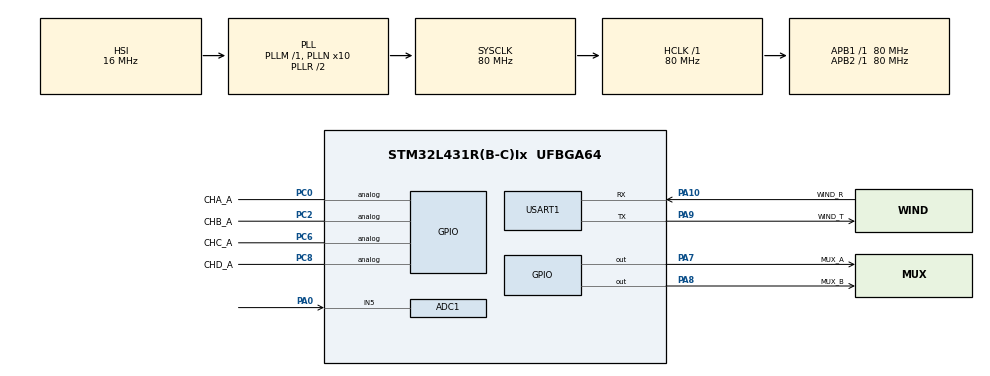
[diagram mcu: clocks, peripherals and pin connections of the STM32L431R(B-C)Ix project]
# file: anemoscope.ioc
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ADC1.Channel-1\#ChannelRegularConversion=ADC_CHANNEL_5
ADC1.ClockPrescaler=ADC_CLOCK_ASYNC_DIV1
ADC1.ContinuousConvMode=DISABLE
ADC1.ExternalTrigConv=ADC_EXTERNALTRIG_T1_TRGO
ADC1.NbrOfConversionFlag=1
ADC1.OffsetNumber-1\#ChannelRegularConversion=ADC_OFFSET_NONE
ADC1.Rank-1\#ChannelRegularConversion=1
ADC1.SamplingTime-1\#ChannelRegularConversion=ADC_SAMPLETIME_12CYCLES_5
ADC1.master=1
Dma.ADC1.3.Direction=DMA_PERIPH_TO_MEMORY
Dma.ADC1.3.Instance=DMA1_Channel1
Dma.ADC1.3.MemDataAlignment=DMA_MDATAALIGN_HALFWORD
Dma.ADC1.3.MemInc=DMA_MINC_ENABLE
Dma.ADC1.3.Mode=DMA_NORMAL
Dma.ADC1.3.PeriphDataAlignment=DMA_PDATAALIGN_HALFWORD
Dma.ADC1.3.PeriphInc=DMA_PINC_DISABLE
Dma.ADC1.3.Priority=DMA_PRIORITY_MEDIUM
Dma.Request0=TIM6_UP
Dma.Request1=USART1_RX
Dma.Request2=USART1_TX
Dma.Request3=ADC1
Dma.TIM6_UP.0.Direction=DMA_MEMORY_TO_PERIPH
Dma.TIM6_UP.0.Instance=DMA1_Channel3
Dma.TIM6_UP.0.MemDataAlignment=DMA_MDATAALIGN_WORD
Dma.TIM6_UP.0.MemInc=DMA_MINC_ENABLE
Dma.TIM6_UP.0.Mode=DMA_NORMAL
Dma.TIM6_UP.0.PeriphDataAlignment=DMA_PDATAALIGN_WORD
Dma.TIM6_UP.0.PeriphInc=DMA_PINC_DISABLE
Dma.TIM6_UP.0.Priority=DMA_PRIORITY_MEDIUM
Dma.USART1_RX.1.Direction=DMA_PERIPH_TO_MEMORY
Dma.USART1_RX.1.Instance=DMA1_Channel5
Dma.USART1_RX.1.MemDataAlignment=DMA_MDATAALIGN_BYTE
Dma.USART1_RX.1.MemInc=DMA_MINC_ENABLE
Dma.USART1_RX.1.Mode=DMA_NORMAL
Dma.USART1_RX.1.PeriphDataAlignment=DMA_PDATAALIGN_BYTE
Dma.USART1_RX.1.PeriphInc=DMA_PINC_DISABLE
Dma.USART1_RX.1.Priority=DMA_PRIORITY_LOW
Dma.USART1_TX.2.Direction=DMA_MEMORY_TO_PERIPH
Dma.USART1_TX.2.Instance=DMA1_Channel4
Dma.USART1_TX.2.MemDataAlignment=DMA_MDATAALIGN_BYTE
Dma.USART1_TX.2.MemInc=DMA_MINC_ENABLE
Dma.USART1_TX.2.Mode=DMA_NORMAL
Dma.USART1_TX.2.PeriphDataAlignment=DMA_PDATAALIGN_BYTE
Dma.USART1_TX.2.PeriphInc=DMA_PINC_DISABLE
Dma.USART1_TX.2.Priority=DMA_PRIORITY_LOW
Mcu.Family=STM32L4
Mcu.Name=STM32L431R(B-C)Ix
Mcu.Package=UFBGA64
NVIC.ADC1_IRQn=true\:0\:0\:false\:false\:true\:true\:true\:true
NVIC.DMA1_Channel1_IRQn=true\:0\:0\:false\:false\:true\:false\:true\:true
NVIC.DMA1_Channel3_IRQn=true\:0\:0\:false\:false\:true\:false\:true\:true
NVIC.DMA1_Channel4_IRQn=true\:0\:0\:false\:false\:true\:false\:true\:true
NVIC.DMA1_Channel5_IRQn=true\:0\:0\:false\:false\:true\:false\:true\:true
NVIC.PriorityGroup=NVIC_PRIORITYGROUP_4
NVIC.TIM2_IRQn=true\:0\:0\:false\:false\:true\:true\:true\:true
NVIC.TIM6_DAC_IRQn=true\:0\:0\:false\:false\:true\:true\:true\:true
NVIC.USART1_IRQn=true\:0\:0\:false\:false\:true\:false\:true\:true
PA0.GPIO_Mode=GPIO_MODE_ANALOG_ADC_CONTROL
PA0.Signal=ADCx_IN5
PA10.GPIO_Label=WIND_R
PA10.Mode=Asynchronous
PA10.Signal=USART1_RX
PA13\ (JTMS-SWDIO).Mode=Serial_Wire
PA13\ (JTMS-SWDIO).Signal=SYS_JTMS-SWDIO
PA14\ (JTCK-SWCLK).Mode=Serial_Wire
PA14\ (JTCK-SWCLK).Signal=SYS_JTCK-SWCLK
PA7.GPIO_Label=MUX_A
PA7.GPIO_Speed=GPIO_SPEED_FREQ_MEDIUM
PA7.Signal=GPIO_Output
PA8.GPIO_Label=MUX_B
PA8.GPIO_Speed=GPIO_SPEED_FREQ_MEDIUM
PA8.Signal=GPIO_Output
PA9.GPIO_Label=WIND_T
PA9.Mode=Asynchronous
PA9.Signal=USART1_TX
PC0.GPIO_Label=CHA_A
PC0.Signal=GPIO_Analog
PC2.GPIO_Label=CHB_A
PC2.Signal=GPIO_Analog
PC6.GPIO_Label=CHC_A
PC6.Signal=GPIO_Analog
PC8.GPIO_Label=CHD_A
PC8.Signal=GPIO_Analog
ProjectManager.HeapSize=0x200
ProjectManager.StackSize=0x400
ProjectManager.TargetToolchain=CMake
RCC.ADCFreq_Value=64000000
RCC.AHBFreq_Value=80000000
RCC.APB1Freq_Value=80000000
RCC.APB1TimFreq_Value=80000000
RCC.APB2Freq_Value=80000000
RCC.APB2TimFreq_Value=80000000
RCC.CortexFreq_Value=80000000
RCC.HCLKFreq_Value=80000000
RCC.HSE_VALUE=8000000
RCC.HSI48_VALUE=48000000
RCC.HSI_VALUE=16000000
RCC.LSE_VALUE=32768
RCC.MSI_VALUE=4000000
RCC.PLLN=10
RCC.PLLSourceVirtual=RCC_PLLSOURCE_HSI
RCC.SYSCLKFreq_VALUE=80000000
RCC.SYSCLKSource=RCC_SYSCLKSOURCE_PLLCLK
RCC.VCOOutputFreq_Value=160000000
SH.ADCx_IN5.0=ADC1_IN5,IN5-Single-Ended
STMicroelectronics.X-CUBE-ALGOBUILD.1.5.0.LibraryCcDSPOoLibraryJjDSPOoLibrary=true
TIM1.Period=49
TIM1.TIM_MasterOutputTrigger=TIM_TRGO_UPDATE
TIM2.Channel-Output\ Compare1\ No\ Output=TIM_CHANNEL_1
TIM2.Channel-Output\ Compare2\ No\ Output=TIM_CHANNEL_2
TIM2.Period=999
TIM2.Prescaler=79
TIM6.Period=999
TIM6.TIM_MasterOutputTrigger=TIM_TRGO_UPDATE
USART1.VirtualMode-Asynchronous=VM_ASYNC
VP_STMicroelectronics.X-CUBE-ALGOBUILD_VS_DSPOoLibraryJjLibrary_1.5.0_1.5.0.Mode=DSPOoLibraryJjLibrary
VP_TIM1_VS_ClockSourceINT.Mode=Internal
VP_TIM2_VS_ClockSourceINT.Mode=Internal
VP_TIM2_VS_no_output1.Mode=Output Compare1 No Output
VP_TIM2_VS_no_output2.Mode=Output Compare2 No Output
VP_TIM6_VS_ClockSourceINT.Mode=Enable_Timer
board=custom

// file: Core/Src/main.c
/* USER CODE BEGIN Header */
/**
  ******************************************************************************
  * @file           : main.c
  * @brief          : Main program body
  ******************************************************************************
  * @attention
  *
  * Copyright (c) 2026 STMicroelectronics.
  * All rights reserved.
  *
  * This software is licensed under terms that can be found in the LICENSE file
  * in the root directory of this software component.
  * If no LICENSE file comes with this software, it is provided AS-IS.
  *
  ******************************************************************************
  */
/* USER CODE END Header */
#include "main.h"
#include "adc.h"
#include "dma.h"
#include "tim.h"
#include "usart.h"
#include "gpio.h"

/* USER CODE BEGIN Includes */
#include "bsp_dwt.h"
#include "bsp_gpio.h"
#include "bsp_dma.h"
#include "bsp_uart.h"
#include "bsp_adc.h"
#include "bsp_tim.h"
#include "wave_generate.h"
#include "wind_speed_calculate.h"
/* USER CODE END Includes */

void SystemClock_Config(void);

/* USER CODE BEGIN 0 */
uint32_t main_dwt_count = 0;
uint32_t main_count = 0;
float dt_main_s = 0.01f;
float main_task_time_s = 0.0f;
float main_wait_time_s = 0.0f;
uint8_t test_data[20];
uint16_t send_index = 0;

float dt_ac = 0.0f;
float dt_bd = 0.0f;

float lag_ac = 0.0f;
float lag_bd = 0.0f;
float lag_ac_median3filtered = 0.0f;
float lag_bd_median3filtered = 0.0f;
float lag_ac_avrg5filtered = 0.0f;
float lag_bd_avrg5filtered = 0.0f;

float v_ac = 0.0f;
float v_bd = 0.0f;
float v = 0.0f;
float v_ac_median3filtered = 0.0f;
float v_bd_median3filtered = 0.0f;
float v_median3filtered = 0.0f;
float v_ac_avrg5filtered = 0.0f;
float v_bd_avrg5filtered = 0.0f;
float v_avrg5filtered = 0.0f;

// float dt_ab = 0.0f;
// float dt_ad = 0.0f;
// float dt_cb = 0.0f;
// float dt_cd = 0.0f;
// float v_ab = 0.0f;
// float v_ad = 0.0f;
// float v_cb = 0.0f;
// float v_cd = 0.0f;
// float lag_ab = 0.0f;
// float lag_ad = 0.0f;
// float lag_cb = 0.0f;
// float lag_cd = 0.0f;
// float v_x = 0.0f;
// float v_y = 0.0f;
/* USER CODE END 0 */

int main(void)
{

  /* MCU Configuration--------------------------------------------------------*/

  /* Reset of all peripherals, Initializes the Flash interface and the Systick. */
  HAL_Init();

  /* Configure the system clock */
  SystemClock_Config();

  /* Initialize all configured peripherals */
  MX_GPIO_Init();
  MX_DMA_Init();
  MX_ADC1_Init();
  MX_USART1_UART_Init();
  MX_TIM6_Init();
  MX_TIM1_Init();
  MX_TIM2_Init();
  /* USER CODE BEGIN 2 */
  DWT_Init(80);
  bsp_gpio_init();
  bsp_dma_register_callback(&hdma_tim6_up);
  bsp_uart_init(&huart1, UART1_Rx_Buff, 8, uart1_callback);
  bsp_adc_init();

  test_data[0] = 0xAB;

  /* USER CODE END 2 */

  /* Infinite loop */
  while (1)
  {

    /* USER CODE BEGIN 3 */
    DWT_GetDeltaT(&main_dwt_count);

    // 对角线测风速
    wave_done = 0;
    sample_done = 0;
    switch (main_count % 5)
    {
      case 0:
      {
        // A -> C
        receive_channel_select(C);
        wave_build(&CHA);
        bsp_tim_start(&htim2, &CHA, &CHC);
        while (sample_done == 0)
        {
        }
        memcpy(AtoC.r_data, adc_buffer, sizeof(AtoC.r_data));
        break;
      }
      case 1:
      {
        // C -> A
        receive_channel_select(A);
        wave_build(&CHC);
        bsp_tim_start(&htim2, &CHC, &CHA);
        while (sample_done == 0)
        {
        }
        memcpy(CtoA.r_data, adc_buffer, sizeof(CtoA.r_data));
        pair_corr_find_delay(&AtoC, &CtoA, &lag_ac);
        break;
      }
      case 2:
      {
        // B -> D
        receive_channel_select(D);
        wave_build(&CHB);
        bsp_tim_start(&htim2, &CHB, &CHD);
        while (sample_done == 0)
        {
        }
        memcpy(BtoD.r_data, adc_buffer, sizeof(BtoD.r_data));
        break;
      }
      case 3:
      {
        // D -> B
        receive_channel_select(B);
        wave_build(&CHD);
        bsp_tim_start(&htim2, &CHD, &CHB);
        while (sample_done == 0)
        {
        }
        memcpy(DtoB.r_data, adc_buffer, sizeof(DtoB.r_data));
        pair_corr_find_delay(&BtoD, &DtoB, &lag_bd);
        break;
      }
      case 4:
      {
        // 计算两个方向风速
        // 先3点取中值，再5点取平均
        lag_ac_median3filtered = median_3_updata(&lag_ac_median3filter, lag_ac);
        lag_bd_median3filtered = median_3_updata(&lag_bd_median3filter, lag_bd);
        lag_ac_avrg5filtered = avrg_5_update(&lag_ac_avrg5filter, lag_ac_median3filtered);
        lag_bd_avrg5filtered = avrg_5_update(&lag_bd_avrg5filter, lag_bd_median3filtered);
        dt_ac = lag_ac_avrg5filtered / SAMPLE_RATE;
        dt_bd = lag_bd_avrg5filtered / SAMPLE_RATE;
        // dt_ac = lag_ac / SAMPLE_RATE;
        // dt_bd = lag_bd / SAMPLE_RATE;

        wind_speed_calculate_diagonal(dt_ac, dt_bd, &v_ac, &v_bd, &v);

        // 风速滤波
        v_ac_median3filtered = median_3_updata(&v_ac_median3filter, v_ac);
        v_bd_median3filtered = median_3_updata(&v_bd_median3filter, v_bd);
        v_median3filtered = median_3_updata(&v_median3filter, v);
        v_ac_avrg5filtered = avrg_5_update(&v_ac_avrg5filter, v_ac_median3filtered);
        v_bd_avrg5filtered = avrg_5_update(&v_bd_avrg5filter, v_bd_median3filtered);
        v_avrg5filtered = avrg_5_update(&v_avrg5filter, v_median3filtered);

        for (uint8_t i = 0; i < 4; i++)
        {
          test_data[1 + i] = *((uint8_t *)&v_ac_avrg5filtered + i);
          test_data[5 + i] = *((uint8_t *)&v_bd_avrg5filtered + i);
          test_data[9 + i] = *((uint8_t *)&v_avrg5filtered + i);
        }
        bsp_uart_send(&huart1, test_data, 13);

        break;
      }
      default:
        break;
    }

    // 四边形测风速
    // wave_done = 0;
    // sample_done = 0;
    // switch (main_count % 9)
    // {
    //   case 0:
    //   {
    //     // A -> B
    //     receive_channel_select(B);
    //     wave_build(&CHA);
    //     bsp_tim_start(&htim2, &CHA, &CHB);
    //     while (sample_done == 0)
    //     {
    //     }
    //     memcpy(AtoB.r_data, adc_buffer, sizeof(AtoB.r_data));
    //     break;
    //   }
    //   case 1:
    //   {
    //     // A -> D
    //     receive_channel_select(D);
    //     wave_build(&CHA);
    //     bsp_tim_start(&htim2, &CHA, &CHD);
    //     while (sample_done == 0)
    //     {
    //     }
    //     memcpy(AtoD.r_data, adc_buffer, sizeof(AtoD.r_data));
    //     break;
    //   }
    //   case 2:
    //   {
    //     // C -> B
    //     receive_channel_select(B);
    //     wave_build(&CHC);
    //     bsp_tim_start(&htim2, &CHC, &CHB);
    //     while (sample_done == 0)
    //     {
    //     }
    //     memcpy(CtoB.r_data, adc_buffer, sizeof(CtoB.r_data));
    //     break;
    //   }
    //   case 3:
    //   {
    //     // C -> D
    //     receive_channel_select(D);
    //     wave_build(&CHC);
    //     bsp_tim_start(&htim2, &CHC, &CHD);
    //     while (sample_done == 0)
    //     {
    //     }
    //     memcpy(CtoD.r_data, adc_buffer, sizeof(CtoD.r_data));
    //     break;
    //   }
    //   case 4:
    //   {
    //     // B -> A
    //     receive_channel_select(A);
    //     wave_build(&CHB);
    //     bsp_tim_start(&htim2, &CHB, &CHA);
    //     while (sample_done == 0)
    //     {
    //     }
    //     memcpy(BtoA.r_data, adc_buffer, sizeof(BtoA.r_data));
    //     pair_corr_find_delay(&AtoB, &BtoA, &lag_ab);
    //     break;
    //   }
    //   case 5:
    //   {
    //     // B -> C
    //     receive_channel_select(C);
    //     wave_build(&CHB);
    //     bsp_tim_start(&htim2, &CHB, &CHC);
    //     while (sample_done == 0)
    //     {
    //     }
    //     memcpy(BtoC.r_data, adc_buffer, sizeof(BtoC.r_data));
    //     pair_corr_find_delay(&CtoB, &BtoC, &lag_cb);
    //     break;
    //   }
    //   case 6:
    //   {
    //     // D -> A
    //     receive_channel_select(A);
    //     wave_build(&CHD);
    //     bsp_tim_start(&htim2, &CHD, &CHA);
    //     while (sample_done == 0)
    //     {
    //     }
    //     memcpy(DtoA.r_data, adc_buffer, sizeof(DtoA.r_data));
    //     pair_corr_find_delay(&AtoD, &DtoA, &lag_ad);
    //     break;
    //   }
    //   case 7:
    //   {
    //     // D -> C
    //     receive_channel_select(C);
    //     wave_build(&CHD);
    //     bsp_tim_start(&htim2, &CHD, &CHC);
    //     while (sample_done == 0)
    //     {
    //     }
    //     memcpy(DtoC.r_data, adc_buffer, sizeof(DtoC.r_data));
    //     pair_corr_find_delay(&CtoD, &DtoC, &lag_cd);
    //     break;
    //   }
    //   case 8:
    //   {
    //     dt_ab = lag_ab / SAMPLE_RATE;
    //     dt_ad = lag_ad / SAMPLE_RATE;
    //     dt_cb = lag_cb / SAMPLE_RATE;
    //     dt_cd = lag_cd / SAMPLE_RATE;
    //     wind_speed_calculate_quadrilateral(dt_ab, &v_ab);
    //     wind_speed_calculate_quadrilateral(dt_ad, &v_ad);
    //     wind_speed_calculate_quadrilateral(dt_cb, &v_cb);
    //     wind_speed_calculate_quadrilateral(dt_cd, &v_cd);
    //     for (uint8_t i = 0; i < 4; i++)
    //     {
    //       test_data[1 + i] = *((uint8_t *)&v_ab + i);
    //       test_data[5 + i] = *((uint8_t *)&v_cd + i);
    //     }
    //     bsp_uart_send(&huart1, test_data, 9);
    //     break;
    //   }
    //   default:
    //     break;
    // }

    // wave_done = 0;
    // sample_done = 0;
    // if (main_count == 0)
    // {
    //   receive_channel_select(C);
    //   wave_build(&CHA);
    //   bsp_tim_start(&htim2, &CHA, &CHC);
    //   while (sample_done == 0)
    //   {
    //   }
    // }
    // else if (main_count == 1)
    //   r_get_average();
    // else
    // {
    //   if (send_index < 4096)
    //   {
    //     test_data[1] = UART1_Tx_Data[send_index];
    //     test_data[2] = UART1_Tx_Data[send_index + 1];
    //     test_data[3] = UART1_Tx_Data[send_index + 2];
    //     test_data[4] = UART1_Tx_Data[send_index + 3];
    //     bsp_uart_send(&huart1, test_data, 5);
    //     send_index += 4;
    //   }
    //   // test_data[1] = UART1_Tx_Data[0];
    //   // test_data[2] = UART1_Tx_Data[1];
    //   // bsp_uart_send(&huart1, test_data, 3);
    // }

    // receive_channel_select(C);
    // wave_start(&CHA);
    // while (wave_done == 0)
    // {
    // }
    // sample_start(&CHC);
    // while (sample_done == 0)
    // {
    // }
    // corr_find(&AtoC, 30, 200, 30.0f, 0.9f);

    // for (uint8_t i = 0; i < 4; i++)
    //   test_data[1 + i] = *((uint8_t *)&delay_t_us + i);
    // bsp_uart_send(&huart1, test_data, 5);

    // test_data[1] = (uint8_t)(AtoC.peak_index & 0xFF);
    // test_data[2] = (uint8_t)(AtoC.peak_index >> 8);
    // bsp_uart_send(&huart1, test_data, 3);

    main_task_time_s = DWT_GetDeltaT(&main_dwt_count);
    main_wait_time_s = dt_main_s - main_task_time_s;
    main_count ++;

    // for (uint8_t i = 0; i < 4; i++)
    //   test_data[1 + i] = *((uint8_t *)&main_task_time_s + i);
    // bsp_uart_send(&huart1, test_data, 5);

    DWT_Delay(main_wait_time_s);
  }
  /* USER CODE END 3 */
}

void SystemClock_Config(void)
{
  RCC_OscInitTypeDef RCC_OscInitStruct = {0};
  RCC_ClkInitTypeDef RCC_ClkInitStruct = {0};

  /** Configure the main internal regulator output voltage
  */
  if (HAL_PWREx_ControlVoltageScaling(PWR_REGULATOR_VOLTAGE_SCALE1) != HAL_OK)
  {
    Error_Handler();
  }

  /** Initializes the RCC Oscillators according to the specified parameters
  * in the RCC_OscInitTypeDef structure.
  */
  RCC_OscInitStruct.OscillatorType = RCC_OSCILLATORTYPE_HSI;
  RCC_OscInitStruct.HSIState = RCC_HSI_ON;
  RCC_OscInitStruct.HSICalibrationValue = RCC_HSICALIBRATION_DEFAULT;
  RCC_OscInitStruct.PLL.PLLState = RCC_PLL_ON;
  RCC_OscInitStruct.PLL.PLLSource = RCC_PLLSOURCE_HSI;
  RCC_OscInitStruct.PLL.PLLM = 1;
  RCC_OscInitStruct.PLL.PLLN = 10;
  RCC_OscInitStruct.PLL.PLLP = RCC_PLLP_DIV7;
  RCC_OscInitStruct.PLL.PLLQ = RCC_PLLQ_DIV2;
  RCC_OscInitStruct.PLL.PLLR = RCC_PLLR_DIV2;
  if (HAL_RCC_OscConfig(&RCC_OscInitStruct) != HAL_OK)
  {
    Error_Handler();
  }

  /** Initializes the CPU, AHB and APB buses clocks
  */
  RCC_ClkInitStruct.ClockType = RCC_CLOCKTYPE_HCLK|RCC_CLOCKTYPE_SYSCLK
                              |RCC_CLOCKTYPE_PCLK1|RCC_CLOCKTYPE_PCLK2;
  RCC_ClkInitStruct.SYSCLKSource = RCC_SYSCLKSOURCE_PLLCLK;
  RCC_ClkInitStruct.AHBCLKDivider = RCC_SYSCLK_DIV1;
  RCC_ClkInitStruct.APB1CLKDivider = RCC_HCLK_DIV1;
  RCC_ClkInitStruct.APB2CLKDivider = RCC_HCLK_DIV1;

  if (HAL_RCC_ClockConfig(&RCC_ClkInitStruct, FLASH_LATENCY_4) != HAL_OK)
  {
    Error_Handler();
  }
}

void Error_Handler(void)
{
  __disable_irq();
  while (1)
  {
  }
}
